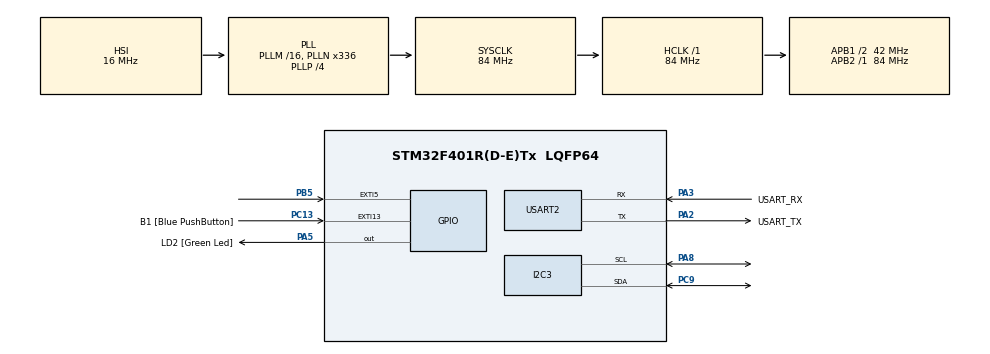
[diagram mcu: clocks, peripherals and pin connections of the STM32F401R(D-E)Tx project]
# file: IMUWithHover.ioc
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Mcu.Family=STM32F4
Mcu.Name=STM32F401R(D-E)Tx
Mcu.Package=LQFP64
NVIC.EXTI9_5_IRQn=true\:0\:0\:false\:false\:true
NVIC.PriorityGroup=NVIC_PRIORITYGROUP_0
PA13.GPIO_Label=TMS
PA13.Mode=Trace_Asynchronous_SW
PA13.Signal=SYS_JTMS-SWDIO
PA14.GPIO_Label=TCK
PA14.Mode=Trace_Asynchronous_SW
PA14.Signal=SYS_JTCK-SWCLK
PA2.GPIO_Label=USART_TX
PA2.GPIO_Mode=GPIO_MODE_AF_PP
PA2.GPIO_PuPd=GPIO_NOPULL
PA2.GPIO_Speed=GPIO_SPEED_FREQ_LOW
PA2.Mode=Asynchronous
PA2.Signal=USART2_TX
PA3.GPIO_Label=USART_RX
PA3.GPIO_Mode=GPIO_MODE_AF_PP
PA3.GPIO_PuPd=GPIO_NOPULL
PA3.GPIO_Speed=GPIO_SPEED_FREQ_LOW
PA3.Mode=Asynchronous
PA3.Signal=USART2_RX
PA5.GPIO_Label=LD2 [Green Led]
PA5.GPIO_Mode=GPIO_MODE_OUTPUT_PP
PA5.GPIO_PuPd=GPIO_NOPULL
PA5.GPIO_Speed=GPIO_SPEED_FREQ_LOW
PA5.Signal=GPIO_Output
PA8.Mode=I2C
PA8.Signal=I2C3_SCL
PB3.GPIO_Label=SWO
PB3.Mode=Trace_Asynchronous_SW
PB3.Signal=SYS_JTDO-SWO
PB5.Signal=GPXTI5
PC13-ANTI_TAMP.GPIO_Label=B1 [Blue PushButton]
PC13-ANTI_TAMP.GPIO_ModeDefaultEXTI=GPIO_MODE_IT_FALLING
PC13-ANTI_TAMP.GPIO_PuPd=GPIO_NOPULL
PC13-ANTI_TAMP.Signal=GPXTI13
PC14-OSC32_IN.Signal=RCC_OSC32_IN
PC15-OSC32_OUT.Signal=RCC_OSC32_OUT
PC9.Mode=I2C
PC9.Signal=I2C3_SDA
PH0\ -\ OSC_IN.Signal=RCC_OSC_IN
PH1\ -\ OSC_OUT.Signal=RCC_OSC_OUT
ProjectManager.HeapSize=0x200
ProjectManager.StackSize=0x400
ProjectManager.TargetToolchain=SW4STM32
RCC.AHBFreq_Value=84000000
RCC.APB1CLKDivider=RCC_HCLK_DIV2
RCC.APB1Freq_Value=42000000
RCC.APB1TimFreq_Value=84000000
RCC.APB2Freq_Value=84000000
RCC.APB2TimFreq_Value=84000000
RCC.CortexFreq_Value=84000000
RCC.HCLKFreq_Value=84000000
RCC.HSE_VALUE=8000000
RCC.HSI_VALUE=16000000
RCC.LSE_VALUE=32768
RCC.PLLN=336
RCC.PLLP=RCC_PLLP_DIV4
RCC.PLLQ=7
RCC.SYSCLKFreq_VALUE=84000000
RCC.SYSCLKSource=RCC_SYSCLKSOURCE_PLLCLK
RCC.VCOOutputFreq_Value=336000000
USART2.VirtualMode=VM_ASYNC
board=NUCLEO-F401RE

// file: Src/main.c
/**
  ******************************************************************************
  * File Name          : main.c
  * Description        : Main program body
  ******************************************************************************
  *
  * COPYRIGHT(c) 2017 STMicroelectronics
  *
  * Redistribution and use in source and binary forms, with or without modification,
  * are permitted provided that the following conditions are met:
  *   1. Redistributions of source code must retain the above copyright notice,
  *      this list of conditions and the following disclaimer.
  *   2. Redistributions in binary form must reproduce the above copyright notice,
  *      this list of conditions and the following disclaimer in the documentation
  *      and/or other materials provided with the distribution.
  *   3. Neither the name of STMicroelectronics nor the names of its contributors
  *      may be used to endorse or promote products derived from this software
  *      without specific prior written permission.
  *
  * THIS SOFTWARE IS PROVIDED BY THE COPYRIGHT HOLDERS AND CONTRIBUTORS "AS IS"
  * AND ANY EXPRESS OR IMPLIED WARRANTIES, INCLUDING, BUT NOT LIMITED TO, THE
  * IMPLIED WARRANTIES OF MERCHANTABILITY AND FITNESS FOR A PARTICULAR PURPOSE ARE
  * DISCLAIMED. IN NO EVENT SHALL THE COPYRIGHT HOLDER OR CONTRIBUTORS BE LIABLE
  * FOR ANY DIRECT, INDIRECT, INCIDENTAL, SPECIAL, EXEMPLARY, OR CONSEQUENTIAL
  * DAMAGES (INCLUDING, BUT NOT LIMITED TO, PROCUREMENT OF SUBSTITUTE GOODS OR
  * SERVICES; LOSS OF USE, DATA, OR PROFITS; OR BUSINESS INTERRUPTION) HOWEVER
  * CAUSED AND ON ANY THEORY OF LIABILITY, WHETHER IN CONTRACT, STRICT LIABILITY,
  * OR TORT (INCLUDING NEGLIGENCE OR OTHERWISE) ARISING IN ANY WAY OUT OF THE USE
  * OF THIS SOFTWARE, EVEN IF ADVISED OF THE POSSIBILITY OF SUCH DAMAGE.
  *
  ******************************************************************************
  */
#include "main.h"
#include "stm32f4xx_hal.h"
#include "dma.h"
#include "i2c.h"
#include "usart.h"
#include "gpio.h"

/* USER CODE BEGIN Includes */
#include "stm32f401xe.h"
#include "active_config.h"
#include "bsp.h"
#include <stdio.h>
/* USER CODE END Includes */

/* USER CODE BEGIN PV */
/* Private variables ---------------------------------------------------------*/

/* USER CODE END PV */

void SystemClock_Config(void);
void Error_Handler(void);
static void MX_NVIC_Init(void);

/* USER CODE BEGIN PFP */
/* Private function prototypes -----------------------------------------------*/

/* USER CODE END PFP */

int main(void)
{

  /* USER CODE BEGIN 1 */
	QP_PreInitialize();
  /* USER CODE END 1 */

  /* MCU Configuration----------------------------------------------------------*/

  /* Reset of all peripherals, Initializes the Flash interface and the Systick. */
  HAL_Init();

  /* Configure the system clock */
  SystemClock_Config();

  /* Initialize all configured peripherals */
  MX_GPIO_Init();
  MX_DMA_Init();
  MX_USART2_UART_Init();
  MX_I2C3_Init();

  /* Initialize interrupts */
  MX_NVIC_Init();

  /* USER CODE BEGIN 2 */
  printf("HAL Init Completed\n");
  BSP_Init();
  char const *test = "BspInit success\n\r";
  HAL_UART_Transmit(&huart2, (uint8_t *)test, strlen(test), 0xFFFF);

  QP_InitializeRun();
  printf("All Initialization completed\n");
  /* USER CODE END 2 */

  /* Infinite loop */
  while (1)
  {

  }

}

/** System Clock Configuration
*/
void SystemClock_Config(void)
{

  RCC_OscInitTypeDef RCC_OscInitStruct;
  RCC_ClkInitTypeDef RCC_ClkInitStruct;
  RCC_PeriphCLKInitTypeDef PeriphClkInitStruct;

    /**Configure the main internal regulator output voltage
    */
  __HAL_RCC_PWR_CLK_ENABLE();

  __HAL_PWR_VOLTAGESCALING_CONFIG(PWR_REGULATOR_VOLTAGE_SCALE2);

    /**Initializes the CPU, AHB and APB busses clocks
    */
  RCC_OscInitStruct.OscillatorType = RCC_OSCILLATORTYPE_HSI|RCC_OSCILLATORTYPE_LSI;
  RCC_OscInitStruct.HSIState = RCC_HSI_ON;
  RCC_OscInitStruct.HSICalibrationValue = 16;
  RCC_OscInitStruct.LSIState = RCC_LSI_ON;
  RCC_OscInitStruct.PLL.PLLState = RCC_PLL_ON;
  RCC_OscInitStruct.PLL.PLLSource = RCC_PLLSOURCE_HSI;
  RCC_OscInitStruct.PLL.PLLM = 16;
  RCC_OscInitStruct.PLL.PLLN = 336;
  RCC_OscInitStruct.PLL.PLLP = RCC_PLLP_DIV4;
  RCC_OscInitStruct.PLL.PLLQ = 7;
  if (HAL_RCC_OscConfig(&RCC_OscInitStruct) != HAL_OK)
  {
    Error_Handler();
  }

    /**Initializes the CPU, AHB and APB busses clocks
    */
  RCC_ClkInitStruct.ClockType = RCC_CLOCKTYPE_HCLK|RCC_CLOCKTYPE_SYSCLK
                              |RCC_CLOCKTYPE_PCLK1|RCC_CLOCKTYPE_PCLK2;
  RCC_ClkInitStruct.SYSCLKSource = RCC_SYSCLKSOURCE_PLLCLK;
  RCC_ClkInitStruct.AHBCLKDivider = RCC_SYSCLK_DIV1;
  RCC_ClkInitStruct.APB1CLKDivider = RCC_HCLK_DIV2;
  RCC_ClkInitStruct.APB2CLKDivider = RCC_HCLK_DIV1;

  if (HAL_RCC_ClockConfig(&RCC_ClkInitStruct, FLASH_LATENCY_2) != HAL_OK)
  {
    Error_Handler();
  }

  PeriphClkInitStruct.PeriphClockSelection = RCC_PERIPHCLK_RTC;
  PeriphClkInitStruct.RTCClockSelection = RCC_RTCCLKSOURCE_LSI;
  if (HAL_RCCEx_PeriphCLKConfig(&PeriphClkInitStruct) != HAL_OK)
  {
    Error_Handler();
  }

    /**Configure the Systick interrupt time
    */
  HAL_SYSTICK_Config(HAL_RCC_GetHCLKFreq()/1000);

    /**Configure the Systick
    */
  HAL_SYSTICK_CLKSourceConfig(SYSTICK_CLKSOURCE_HCLK);

  /* SysTick_IRQn interrupt configuration */
  HAL_NVIC_SetPriority(SysTick_IRQn, 0, 0);
}

/* USER CODE BEGIN 4 */
static void MX_NVIC_Init(void)
{
  /* DMA1_Stream6_IRQn interrupt configuration */
  HAL_NVIC_SetPriority(DMA1_Stream6_IRQn, 0, 4);
  HAL_NVIC_EnableIRQ(DMA1_Stream6_IRQn);
  /* DMA1_Stream5_IRQn interrupt configuration */
  HAL_NVIC_SetPriority(DMA1_Stream5_IRQn, 0, 4);
  HAL_NVIC_EnableIRQ(DMA1_Stream5_IRQn);
  /* USART2_IRQn interrupt configuration */
  HAL_NVIC_SetPriority(USART2_IRQn, 0, 4);
  HAL_NVIC_EnableIRQ(USART2_IRQn);
}
/* USER CODE END 4 */

void Error_Handler(void)
{
  while(1)
  {
  }
}

#ifdef USE_FULL_ASSERT

/**
   * @brief Reports the name of the source file and the source line number
   * where the assert_param error has occurred.
   * @param file: pointer to the source file name
   * @param line: assert_param error line source number
   * @retval None
   */
void assert_failed(uint8_t* file, uint32_t line)
{
  /* USER CODE BEGIN 6 */
  /* User can add his own implementation to report the file name and line number, */
    static int x = 0;
    x++;
  /* USER CODE END 6 */

}

#endif

/************************ (C) COPYRIGHT STMicroelectronics *****END OF FILE****/
